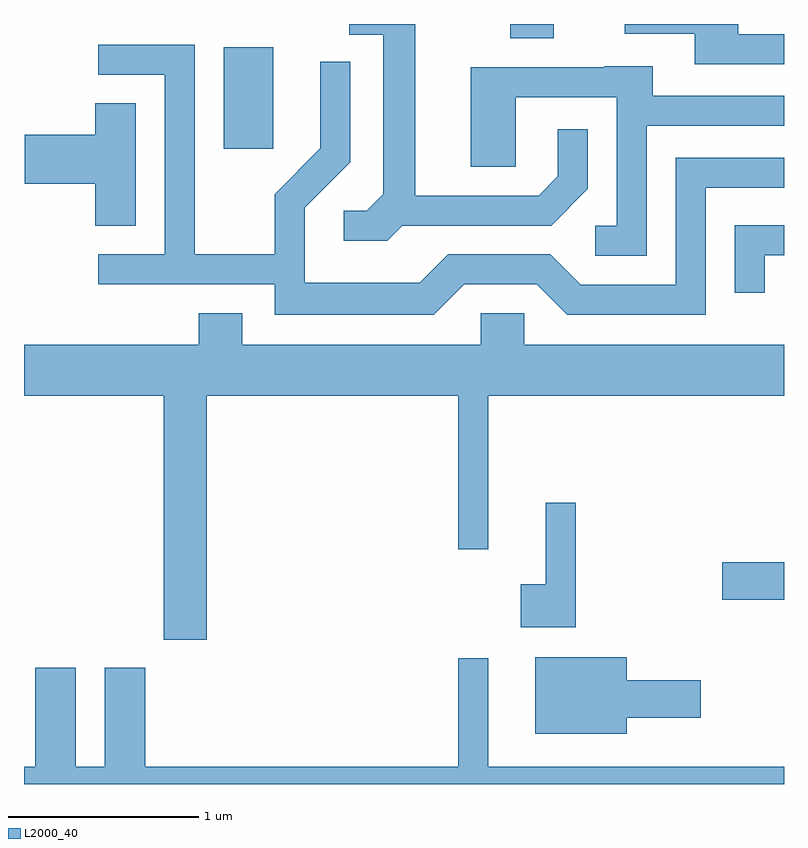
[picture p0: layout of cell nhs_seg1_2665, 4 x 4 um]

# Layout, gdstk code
import gdstk
lib = gdstk.Library(unit=1e-6, precision=1e-09)
def R(c, l, rs):  # rectangles x0, y0, x1, y1
    for r in rs: c.add(gdstk.rectangle(r[:2], r[2:], *l))
def P(c, l, *ps):  # polygons
    for p in ps: c.add(gdstk.Polygon(p, *l))
L2000_40 = (2000, 40)

nhs_seg1_2665 = lib.new_cell('nhs_seg1_2665')
R(nhs_seg1_2665, L2000_40, [(269.286,940.681,269.611,940.879), (266.661,943.056,266.924,943.589), (268.171,943.636,268.399,943.712)])
P(nhs_seg1_2665, L2000_40, [(269.611,943.659),(269.369,943.659),(269.369,943.712),(268.773,943.712),(268.773,943.661),(269.141,943.661),(269.141,943.501),(269.611,943.501)],
  [(267.602,942.651),(268.387,942.651),(268.579,942.844),(268.579,943.158),(268.421,943.158),(268.421,942.912),(268.319,942.809),(267.669,942.809),(267.669,943.712),(267.323,943.712),(267.323,943.656),(267.501,943.656),(267.501,942.817),(267.414,942.729),(267.293,942.729),(267.293,942.571),(267.522,942.571)],
  [(267.927,942.341),(268.309,942.341),(268.469,942.181),(269.199,942.181),(269.199,942.851),(269.611,942.851),(269.611,943.009),(269.041,943.009),(269.041,942.339),(268.542,942.339),(268.382,942.499),(267.844,942.499),(267.694,942.349),(267.089,942.349),(267.089,942.744),(267.329,942.984),(267.329,943.513),(267.171,943.513),(267.171,943.057),(266.931,942.817),(266.931,942.499),(266.509,942.499),(266.509,943.604),(266.003,943.604),(266.003,943.446),(266.351,943.446),(266.351,942.499),(266.003,942.499),(266.003,942.341),(266.931,942.341),(266.931,942.181),(267.767,942.181)],
  [(268.889,943.176),(269.611,943.176),(269.611,943.334),(268.919,943.334),(268.919,943.489),(268.665,943.489),(268.665,943.484),(267.961,943.484),(267.961,942.961),(268.199,942.961),(268.199,943.326),(268.731,943.326),(268.731,942.649),(268.618,942.649),(268.618,942.491),(268.889,942.491)],
  [(266.199,943.294),(265.986,943.294),(265.986,943.129),(265.616,943.129),(265.616,942.871),(265.986,942.871),(265.986,942.651),(266.199,942.651)],
  [(269.509,942.496),(269.611,942.496),(269.611,942.654),(269.351,942.654),(269.351,942.298),(269.509,942.298)],
  [(266.574,941.756),(267.896,941.756),(267.896,940.948),(268.054,940.948),(268.054,941.756),(269.611,941.756),(269.611,942.024),(268.244,942.024),(268.244,942.189),(268.016,942.189),(268.016,942.024),(266.759,942.024),(266.759,942.189),(266.531,942.189),(266.531,942.024),(265.611,942.024),(265.611,941.756),(266.346,941.756),(266.346,940.471),(266.574,940.471)],
  [(268.514,941.193),(268.356,941.193),(268.356,940.764),(268.226,940.764),(268.226,940.536),(268.514,940.536)],
  [(268.784,940.061),(269.174,940.061),(269.174,940.259),(268.784,940.259),(268.784,940.379),(268.301,940.379),(268.301,939.976),(268.784,939.976)],
  [(269.611,939.804),(268.054,939.804),(268.054,940.373),(267.896,940.373),(267.896,939.804),(266.249,939.804),(266.249,940.324),(266.036,940.324),(266.036,939.804),(265.884,939.804),(265.884,940.324),(265.671,940.324),(265.671,939.804),(265.611,939.804),(265.611,939.712),(269.611,939.712)])

lib.write_gds('nhs_seg1_2665.gds')
